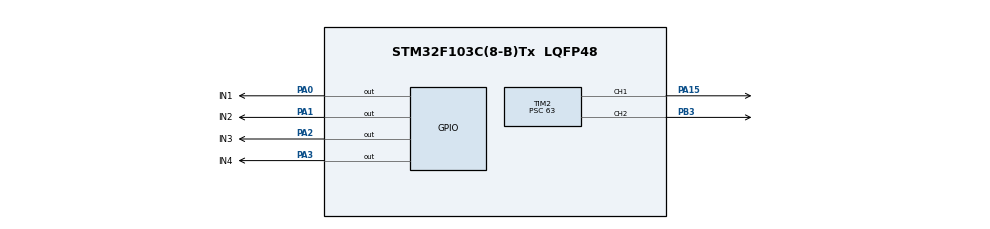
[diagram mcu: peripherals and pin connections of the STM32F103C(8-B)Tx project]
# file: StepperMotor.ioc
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Mcu.Family=STM32F1
Mcu.Name=STM32F103C(8-B)Tx
Mcu.Package=LQFP48
NVIC.PriorityGroup=NVIC_PRIORITYGROUP_4
PA0-WKUP.GPIO_Label=IN1
PA0-WKUP.Signal=GPIO_Output
PA1.GPIO_Label=IN2
PA1.Signal=GPIO_Output
PA13.Mode=Serial_Wire
PA13.Signal=SYS_JTMS-SWDIO
PA14.Mode=Serial_Wire
PA14.Signal=SYS_JTCK-SWCLK
PA15.Signal=S_TIM2_CH1_ETR
PA2.GPIO_Label=IN3
PA2.Signal=GPIO_Output
PA3.GPIO_Label=IN4
PA3.Signal=GPIO_Output
PB3.Signal=S_TIM2_CH2
ProjectManager.HeapSize=0x200
ProjectManager.StackSize=0x400
ProjectManager.TargetToolchain=MDK-ARM V5.32
RCC.APB1Freq_Value=8000000
RCC.APB2Freq_Value=8000000
SH.S_TIM2_CH1_ETR.0=TIM2_CH1,PWM Generation1 CH1
SH.S_TIM2_CH2.0=TIM2_CH2,PWM Generation2 CH2
TIM1.Period=65535
TIM1.Prescaler=7
TIM2.Channel-PWM\ Generation1\ CH1=TIM_CHANNEL_1
TIM2.Channel-PWM\ Generation2\ CH2=TIM_CHANNEL_2
TIM2.Period=999
TIM2.Prescaler=63
TIM2.Pulse-PWM\ Generation1\ CH1=499
TIM2.Pulse-PWM\ Generation2\ CH2=499
VP_TIM1_VS_ClockSourceINT.Mode=Internal
VP_TIM2_VS_ClockSourceINT.Mode=Internal
board=custom

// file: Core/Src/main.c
/* USER CODE BEGIN Header */
/**
  ******************************************************************************
  * @file           : main.c
  * @brief          : Main program body
  ******************************************************************************
  * @attention
  *
  * Copyright (c) 2023 STMicroelectronics.
  * All rights reserved.
  *
  * This software is licensed under terms that can be found in the LICENSE file
  * in the root directory of this software component.
  * If no LICENSE file comes with this software, it is provided AS-IS.
  *
  ******************************************************************************
  */
/* USER CODE END Header */
#include "main.h"

/* USER CODE BEGIN Includes */
uint8_t chieu_quay=1;		//0: quay thuan
												//1: quay nguoc
uint32_t X=6400;				//1 vong can 6400 buoc
/* USER CODE END Includes */

TIM_HandleTypeDef htim1;
TIM_HandleTypeDef htim2;

void SystemClock_Config(void);
static void MX_GPIO_Init(void);
static void MX_TIM1_Init(void);
static void MX_TIM2_Init(void);

/* USER CODE BEGIN 0 */
float Steparray1[128]={9.8, 20, 29, 38, 47, 56, 63, 71, 77, 83, 88, 93, 95.6, 98, 99.5, 100,
											99.5, 98, 95.6, 93, 88, 83, 77, 71, 63, 56, 47, 38, 29, 20, 9.8, 0,
											9.8, 20, 29, 38, 47, 56, 63, 71, 77, 83, 88, 93, 95.6, 98, 99.5, 100,
											99.5, 98, 95.6, 93, 88, 83, 77, 71, 63, 56, 47, 38, 29, 20, 9.8, 0,
											9.8, 20, 29, 38, 47, 56, 63, 71, 77, 83, 88, 93, 95.6, 98, 99.5, 100,
											99.5, 98, 95.6, 93, 88, 83, 77, 71, 63, 56, 47, 38, 29, 20, 9.8, 0,
											9.8, 20, 29, 38, 47, 56, 63, 71, 77, 83, 88, 93, 95.6, 98, 99.5, 100,
											99.5, 98, 95.6, 93, 88, 83, 77, 71, 63, 56, 47, 38, 29, 20, 9.8, 0};
uint16_t duty=999;
void goc1(){
	HAL_GPIO_WritePin(IN1_GPIO_Port, IN1_Pin, 1);
	HAL_GPIO_WritePin(IN2_GPIO_Port, IN2_Pin, 0);
	HAL_GPIO_WritePin(IN3_GPIO_Port, IN3_Pin, 1);
	HAL_GPIO_WritePin(IN4_GPIO_Port, IN4_Pin, 0);
}
void goc2(){
	HAL_GPIO_WritePin(IN1_GPIO_Port, IN1_Pin, 0);
	HAL_GPIO_WritePin(IN2_GPIO_Port, IN2_Pin, 1);
	HAL_GPIO_WritePin(IN3_GPIO_Port, IN3_Pin, 1);
	HAL_GPIO_WritePin(IN4_GPIO_Port, IN4_Pin, 0);
}
void goc3(){
	HAL_GPIO_WritePin(IN1_GPIO_Port, IN1_Pin, 0);
	HAL_GPIO_WritePin(IN2_GPIO_Port, IN2_Pin, 1);
	HAL_GPIO_WritePin(IN3_GPIO_Port, IN3_Pin, 0);
	HAL_GPIO_WritePin(IN4_GPIO_Port, IN4_Pin, 1);
}
void goc4(){
	HAL_GPIO_WritePin(IN1_GPIO_Port, IN1_Pin, 1);
	HAL_GPIO_WritePin(IN2_GPIO_Port, IN2_Pin, 0);
	HAL_GPIO_WritePin(IN3_GPIO_Port, IN3_Pin, 0);
	HAL_GPIO_WritePin(IN4_GPIO_Port, IN4_Pin, 1);
}
void goc1t(){
	HAL_GPIO_WritePin(IN1_GPIO_Port, IN1_Pin, 1);
	HAL_GPIO_WritePin(IN2_GPIO_Port, IN2_Pin, 0);
	HAL_GPIO_WritePin(IN3_GPIO_Port, IN3_Pin, 0);
	HAL_GPIO_WritePin(IN4_GPIO_Port, IN4_Pin, 1);
}
void goc2t(){
	HAL_GPIO_WritePin(IN1_GPIO_Port, IN1_Pin, 0);
	HAL_GPIO_WritePin(IN2_GPIO_Port, IN2_Pin, 1);
	HAL_GPIO_WritePin(IN3_GPIO_Port, IN3_Pin, 0);
	HAL_GPIO_WritePin(IN4_GPIO_Port, IN4_Pin, 1);
}
void goc3t(){
	HAL_GPIO_WritePin(IN1_GPIO_Port, IN1_Pin, 0);
	HAL_GPIO_WritePin(IN2_GPIO_Port, IN2_Pin, 1);
	HAL_GPIO_WritePin(IN3_GPIO_Port, IN3_Pin, 1);
	HAL_GPIO_WritePin(IN4_GPIO_Port, IN4_Pin, 0);
}
void goc4t(){
	HAL_GPIO_WritePin(IN1_GPIO_Port, IN1_Pin, 1);
	HAL_GPIO_WritePin(IN2_GPIO_Port, IN2_Pin, 0);
	HAL_GPIO_WritePin(IN3_GPIO_Port, IN3_Pin, 1);
	HAL_GPIO_WritePin(IN4_GPIO_Port, IN4_Pin, 0);
}
void delay_us(uint32_t time){
	__HAL_TIM_SET_COUNTER(&htim1,0);
	while(__HAL_TIM_GET_COUNTER(&htim1)<time);
}

/* USER CODE END 0 */

int main(void)
{

  /* MCU Configuration--------------------------------------------------------*/

  /* Reset of all peripherals, Initializes the Flash interface and the Systick. */
  HAL_Init();

  /* Configure the system clock */
  SystemClock_Config();

  /* Initialize all configured peripherals */
  MX_GPIO_Init();
  MX_TIM1_Init();
  MX_TIM2_Init();
  /* USER CODE BEGIN 2 */
	HAL_TIM_Base_Start(&htim1);
	HAL_TIM_PWM_Start(&htim2, TIM_CHANNEL_1);
	HAL_TIM_PWM_Start(&htim2, TIM_CHANNEL_2);
	uint32_t n;

	//htim2.Instance->PSC=63;
	__HAL_TIM_SET_COMPARE(&htim2,TIM_CHANNEL_1,999);
	__HAL_TIM_SET_COMPARE(&htim2,TIM_CHANNEL_2,0);
for(n=0;n<X;n++){
	if(chieu_quay==0){		//quay thuan
		if(n<32){
			goc1t();
		}
		if((n>=32)&&(n<64)){
			goc2t();
		}
		if((n>=64)&&(n<96)){
			goc3t();
		}
		if((n>=96)&&(n<128)){
			goc4t();
		}
	}

	if(chieu_quay==1){		//quay nguoc
		if(n<32){
			goc1();
		}
		if((n>=32)&&(n<64)){
			goc2();
		}
		if((n>=64)&&(n<96)){
			goc3();
		}
		if((n>=96)&&(n<128)){
			goc4();
		}
	}

	if(n<16){
		__HAL_TIM_SET_COMPARE(&htim2,TIM_CHANNEL_2,Steparray1[n]*duty/100);
	}
	if((n>=16)&&(n<32)){
		__HAL_TIM_SET_COMPARE(&htim2,TIM_CHANNEL_1,Steparray1[n]*duty/100);
	}
	if((n>=32)&&(n<48)){
		__HAL_TIM_SET_COMPARE(&htim2,TIM_CHANNEL_1,Steparray1[n]*duty/100);
	}
	if((n>=48)&&(n<64)){
		__HAL_TIM_SET_COMPARE(&htim2,TIM_CHANNEL_2,Steparray1[n]*duty/100);
	}
	if((n>=64)&&(n<80)){
		__HAL_TIM_SET_COMPARE(&htim2,TIM_CHANNEL_2,Steparray1[n]*duty/100);
	}
	if((n>=80)&&(n<96)){
		__HAL_TIM_SET_COMPARE(&htim2,TIM_CHANNEL_1,Steparray1[n]*duty/100);
	}
	if((n>=96)&&(n<112)){
		__HAL_TIM_SET_COMPARE(&htim2,TIM_CHANNEL_1,Steparray1[n]*duty/100);
	}
	if((n>=112)&&(n<128)){
		__HAL_TIM_SET_COMPARE(&htim2,TIM_CHANNEL_2,Steparray1[n]*duty/100);
	}
	if(n>=128){
		n=0;
		X=X-128;
	}
	delay_us(200);
}

  /* USER CODE END 2 */

  /* Infinite loop */
  while (1)
  {

  }
}

void SystemClock_Config(void)
{
  RCC_OscInitTypeDef RCC_OscInitStruct = {0};
  RCC_ClkInitTypeDef RCC_ClkInitStruct = {0};

  /** Initializes the RCC Oscillators according to the specified parameters
  * in the RCC_OscInitTypeDef structure.
  */
  RCC_OscInitStruct.OscillatorType = RCC_OSCILLATORTYPE_HSI;
  RCC_OscInitStruct.HSIState = RCC_HSI_ON;
  RCC_OscInitStruct.HSICalibrationValue = RCC_HSICALIBRATION_DEFAULT;
  RCC_OscInitStruct.PLL.PLLState = RCC_PLL_NONE;
  if (HAL_RCC_OscConfig(&RCC_OscInitStruct) != HAL_OK)
  {
    Error_Handler();
  }

  /** Initializes the CPU, AHB and APB buses clocks
  */
  RCC_ClkInitStruct.ClockType = RCC_CLOCKTYPE_HCLK|RCC_CLOCKTYPE_SYSCLK
                              |RCC_CLOCKTYPE_PCLK1|RCC_CLOCKTYPE_PCLK2;
  RCC_ClkInitStruct.SYSCLKSource = RCC_SYSCLKSOURCE_HSI;
  RCC_ClkInitStruct.AHBCLKDivider = RCC_SYSCLK_DIV1;
  RCC_ClkInitStruct.APB1CLKDivider = RCC_HCLK_DIV1;
  RCC_ClkInitStruct.APB2CLKDivider = RCC_HCLK_DIV1;

  if (HAL_RCC_ClockConfig(&RCC_ClkInitStruct, FLASH_LATENCY_0) != HAL_OK)
  {
    Error_Handler();
  }
}

static void MX_TIM1_Init(void)
{

  TIM_ClockConfigTypeDef sClockSourceConfig = {0};
  TIM_MasterConfigTypeDef sMasterConfig = {0};

  htim1.Instance = TIM1;
  htim1.Init.Prescaler = 7;
  htim1.Init.CounterMode = TIM_COUNTERMODE_UP;
  htim1.Init.Period = 65535;
  htim1.Init.ClockDivision = TIM_CLOCKDIVISION_DIV1;
  htim1.Init.RepetitionCounter = 0;
  htim1.Init.AutoReloadPreload = TIM_AUTORELOAD_PRELOAD_DISABLE;
  if (HAL_TIM_Base_Init(&htim1) != HAL_OK)
  {
    Error_Handler();
  }
  sClockSourceConfig.ClockSource = TIM_CLOCKSOURCE_INTERNAL;
  if (HAL_TIM_ConfigClockSource(&htim1, &sClockSourceConfig) != HAL_OK)
  {
    Error_Handler();
  }
  sMasterConfig.MasterOutputTrigger = TIM_TRGO_RESET;
  sMasterConfig.MasterSlaveMode = TIM_MASTERSLAVEMODE_DISABLE;
  if (HAL_TIMEx_MasterConfigSynchronization(&htim1, &sMasterConfig) != HAL_OK)
  {
    Error_Handler();
  }

}

static void MX_TIM2_Init(void)
{

  TIM_ClockConfigTypeDef sClockSourceConfig = {0};
  TIM_MasterConfigTypeDef sMasterConfig = {0};
  TIM_OC_InitTypeDef sConfigOC = {0};

  htim2.Instance = TIM2;
  htim2.Init.Prescaler = 63;
  htim2.Init.CounterMode = TIM_COUNTERMODE_UP;
  htim2.Init.Period = 999;
  htim2.Init.ClockDivision = TIM_CLOCKDIVISION_DIV1;
  htim2.Init.AutoReloadPreload = TIM_AUTORELOAD_PRELOAD_DISABLE;
  if (HAL_TIM_Base_Init(&htim2) != HAL_OK)
  {
    Error_Handler();
  }
  sClockSourceConfig.ClockSource = TIM_CLOCKSOURCE_INTERNAL;
  if (HAL_TIM_ConfigClockSource(&htim2, &sClockSourceConfig) != HAL_OK)
  {
    Error_Handler();
  }
  if (HAL_TIM_PWM_Init(&htim2) != HAL_OK)
  {
    Error_Handler();
  }
  sMasterConfig.MasterOutputTrigger = TIM_TRGO_RESET;
  sMasterConfig.MasterSlaveMode = TIM_MASTERSLAVEMODE_DISABLE;
  if (HAL_TIMEx_MasterConfigSynchronization(&htim2, &sMasterConfig) != HAL_OK)
  {
    Error_Handler();
  }
  sConfigOC.OCMode = TIM_OCMODE_PWM1;
  sConfigOC.Pulse = 499;
  sConfigOC.OCPolarity = TIM_OCPOLARITY_HIGH;
  sConfigOC.OCFastMode = TIM_OCFAST_DISABLE;
  if (HAL_TIM_PWM_ConfigChannel(&htim2, &sConfigOC, TIM_CHANNEL_1) != HAL_OK)
  {
    Error_Handler();
  }
  if (HAL_TIM_PWM_ConfigChannel(&htim2, &sConfigOC, TIM_CHANNEL_2) != HAL_OK)
  {
    Error_Handler();
  }
  HAL_TIM_MspPostInit(&htim2);

}

static void MX_GPIO_Init(void)
{
  GPIO_InitTypeDef GPIO_InitStruct = {0};

  /* GPIO Ports Clock Enable */
  __HAL_RCC_GPIOA_CLK_ENABLE();
  __HAL_RCC_GPIOB_CLK_ENABLE();

  /*Configure GPIO pin Output Level */
  HAL_GPIO_WritePin(GPIOA, IN1_Pin|IN2_Pin|IN3_Pin|IN4_Pin, GPIO_PIN_RESET);

  /*Configure GPIO pins : IN1_Pin IN2_Pin IN3_Pin IN4_Pin */
  GPIO_InitStruct.Pin = IN1_Pin|IN2_Pin|IN3_Pin|IN4_Pin;
  GPIO_InitStruct.Mode = GPIO_MODE_OUTPUT_PP;
  GPIO_InitStruct.Pull = GPIO_NOPULL;
  GPIO_InitStruct.Speed = GPIO_SPEED_FREQ_LOW;
  HAL_GPIO_Init(GPIOA, &GPIO_InitStruct);

}

void Error_Handler(void)
{
  __disable_irq();
  while (1)
  {
  }
}
